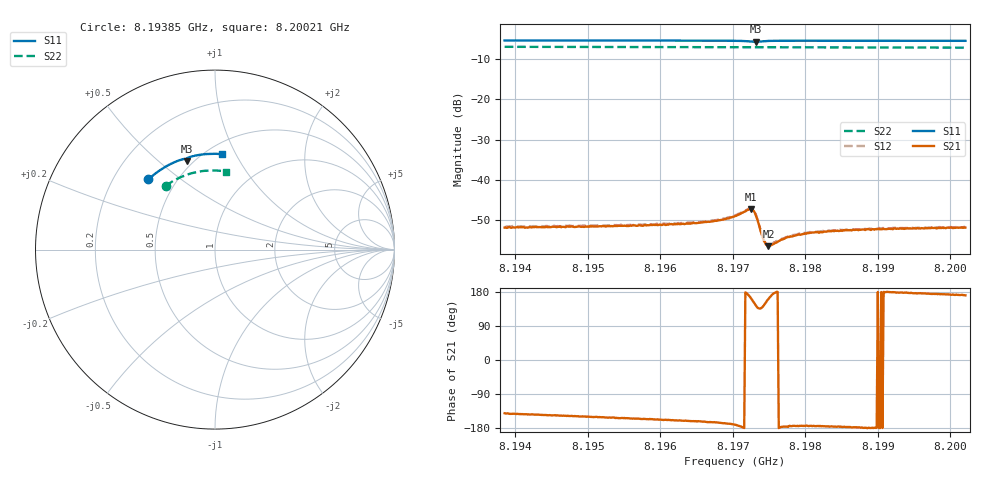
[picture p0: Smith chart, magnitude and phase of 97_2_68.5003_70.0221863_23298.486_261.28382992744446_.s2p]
#  HZ  S  RI  R  50.00
! Rohde & Schwarz Vector Network Analyzer
! Rohde-Schwarz,ZNB20-2Port,1311601062101988,3.16
! Created: UTC 3/20/2024, 4:52:54 PM
! freq[Hz]  re:S11  im:S11  re:S21  im:S21  re:S12  im:S12  re:S22  im:S22
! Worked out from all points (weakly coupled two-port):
!   401 points, 8.19385 GHz to 8.20021 GHz, reference 50 ohm
!   highest |S21| = -47.29 dB at 8.197253 GHz (marker M1); lowest = -56.5 dB at 8.197491 GHz (marker M2)
!   lowest |S11| = -5.7 dB at 8.197316 GHz (marker M3), VSWR 3.16, Z = 23 + j31.2 ohm
!   |S11| at or under -10 dB: nowhere
!   |S22| runs from -7.2 to -7.0 dB; largest |S21 - S12| = 0.00024
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8.1938504e9  -0.3714 0.3906  -0.00197 -0.00162  -0.00206 -0.00159  -0.2756 0.3547
8.1949155e9  -0.3128 0.4379  -0.00223 -0.00134  -0.00232 -0.0013  -0.2257 0.3866
8.1959807e9  -0.2479 0.4766  -0.00255 -0.00105  -0.00262 -0.00102  -0.1716 0.4116
8.1966008e9  -0.207 0.4949  -0.00284 -0.000899  -0.00291 -0.000798  -0.1388 0.4228
8.196871e9  -0.1876 0.5016  -0.00313 -0.000727  -0.00324 -0.000661  -0.1241 0.427
8.19703e9  -0.175 0.5045  -0.0035 -0.000575  -0.00358 -0.00043  -0.1153 0.4292
8.197189e9  -0.1602 0.5033  -0.00414 0.000273  -0.00419 0.000448  -0.1065 0.431
8.1972526e9  -0.1559 0.4985  -0.00411 0.00131  -0.00413 0.00145  -0.1031 0.4315
8.1972844e9  -0.1562 0.4957  -0.00371 0.00185  -0.00367 0.00205  -0.1014 0.4318
8.1973162e9  -0.1586 0.4942  -0.00294 0.00216  -0.00294 0.00234  -0.0998 0.4321
8.197348e9  -0.1611 0.4956  -0.00221 0.00206  -0.00218 0.00217  -0.0982 0.4325
8.1973957e9  -0.1621 0.5002  -0.00157 0.00143  -0.00155 0.00154  -0.0955 0.433
8.1974275e9  -0.1608 0.5033  -0.00142 0.00103  -0.00143 0.00112  -0.0938 0.4334
8.1974593e9  -0.1589 0.506  -0.00139 0.000693  -0.00139 0.000769  -0.092 0.4339
8.1974911e9  -0.1564 0.5082  -0.00141 0.000495  -0.00146 0.000544  -0.0904 0.4343
8.1975229e9  -0.154 0.5099  -0.0015 0.000317  -0.00154 0.000348  -0.0886 0.4346
8.1977613e9  -0.1354 0.5176  -0.00195 -0.000116  -0.00197 -9.12e-05  -0.075 0.4367
8.1979362e9  -0.1225 0.521  -0.00206 -0.000226  -0.00217 -0.000128  -0.0654 0.4379
8.1980952e9  -0.111 0.5235  -0.0022 -0.000213  -0.00223 -0.000109  -0.0566 0.4389
8.1986358e9  -0.0724 0.5298  -0.00235 -8.76e-05  -0.00244 -1.78e-05  -0.0259 0.4409
8.1991604e9  -0.0351 0.5332  -0.00247 3.32e-05  -0.00251 0.000138  0.00365 0.4406
8.2002097e9  0.039 0.5317  -0.00252 0.000411  -0.00251 0.000508  0.0627 0.4341
